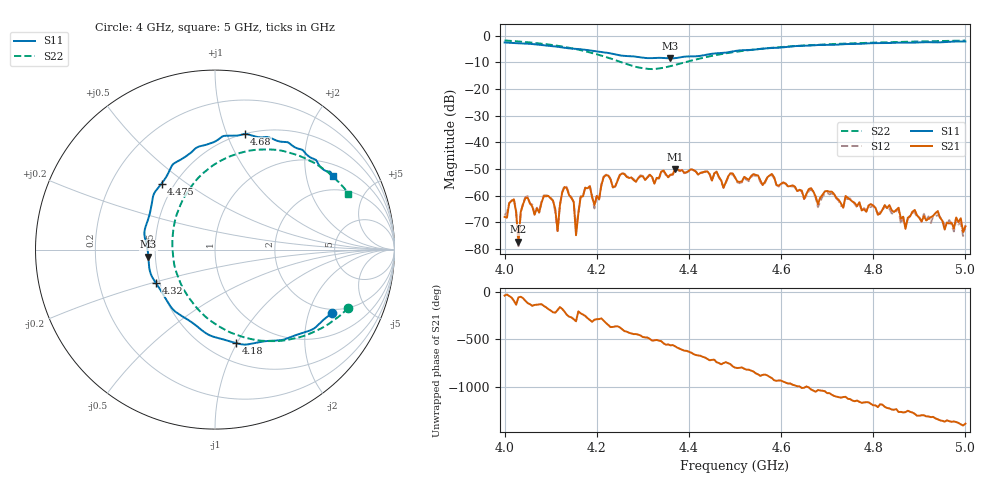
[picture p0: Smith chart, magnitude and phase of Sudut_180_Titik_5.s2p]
# Hz S RI R 50
! CMT, C1220, 16058040, 17.2.0/1
! Date: 15/08/2018 12:21:24
! Data: Format (Calibration Info)
! Freq  S11: Re/Im (F2)  S21: Re/Im (F2)  S12: Re/Im (F2)  S22: Re/Im (F2)
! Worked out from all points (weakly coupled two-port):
!   201 points, 4 GHz to 5 GHz, reference 50 ohm
!   highest |S21| = -49.95 dB at 4.37 GHz (marker M1); lowest = -77.2 dB at 4.03 GHz (marker M2)
!   lowest |S11| = -8.6 dB at 4.36 GHz (marker M3), VSWR 2.19, Z = 22.9 - j2.1 ohm
!   |S11| at or under -10 dB: nowhere
!   |S22| runs from -12.5 to -1.8 dB; largest |S21 - S12| = 0.00017
!   S11 on the Smith chart (normalised r, x): 4 GHz: 1.83, -2.89; 4.18 GHz: 0.68, -0.99; 4.32 GHz: 0.48, -0.21; 4.475 GHz: 0.43, +0.40; 4.68 GHz: 0.50, +1.16; 5 GHz: 1.40, +2.86
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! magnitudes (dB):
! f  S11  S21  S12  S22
! 4 GHz  -2.6  -67.9  -67.2  -1.8
! 4.02 GHz  -2.8  -61.4  -61.1  -2.1
! 4.03 GHz  -2.9  -77.2  -78.9  -2.2
! 4.045 GHz  -3.0  -60.9  -60.5  -2.4
! 4.1 GHz  -3.9  -61.0  -60.7  -3.5
! 4.115 GHz  -4.2  -73.2  -73.2  -3.8
! 4.135 GHz  -4.7  -57.2  -56.8  -4.4
! 4.15 GHz  -4.9  -62.3  -62.5  -4.9
! 4.155 GHz  -5.0  -74.8  -72.6  -5.1
! 4.17 GHz  -5.2  -60.2  -60.0  -5.7
! 4.18 GHz  -5.4  -57.2  -57.2  -6.1
! 4.195 GHz  -5.9  -63.5  -64.8  -6.8
! 4.32 GHz  -8.4  -52.9  -53.0  -12.5
! 4.335 GHz  -8.3  -53.4  -53.6  -12.3
! 4.36 GHz  -8.6  -52.1  -52.2  -11.5
! 4.37 GHz  -8.5  -50.0  -50.0  -11.0
! 4.475 GHz  -6.5  -57.0  -57.0  -6.8
! 4.5 GHz  -5.8  -53.1  -53.3  -6.1
! 4.67 GHz  -3.7  -58.4  -58.5  -3.5
! 4.68 GHz  -3.5  -63.2  -64.3  -3.4
! 4.835 GHz  -2.8  -63.5  -65.0  -2.5
! 5 GHz  -2.2  -71.5  -71.2  -1.9
